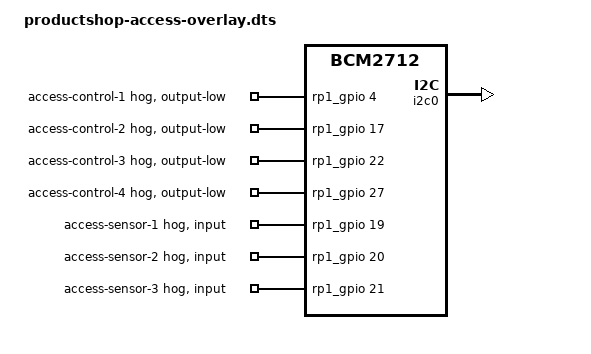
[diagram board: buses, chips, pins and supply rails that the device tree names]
/dts-v1/;
/plugin/;

/{
    compatible = "brcm,bcm2712";

    // --- FRAGMENT@0: GPIO Pin Groups for Access Control ---
    fragment@0 {
        target = <&rp1_gpio>;
        __overlay__ {
            access_control_pins: access_control_pin_group {
                pins = "gpio4", "gpio17", "gpio22", "gpio27";
                function = "gpio";
                bias-pull-up;
            };

            sensor_pins: sensor_pin_group {
                pins = "gpio19", "gpio20", "gpio21";
                function = "gpio";
                bias-pull-up;
            };
        };
    };

    // --- FRAGMENT@1: GPIO Hogs for Access Control ---
    fragment@1 {
        target = <&rp1_gpio>;
        __overlay__ {
            // Access control outputs
            gpio4_access_control: gpio4_hog {
                gpio-hog;
                gpios = <4 0>;
                output-low;
                line-name = "access-control-1";
            };

            gpio17_access_control: gpio17_hog {
                gpio-hog;
                gpios = <17 0>;
                output-low;
                line-name = "access-control-2";
            };

            gpio22_access_control: gpio22_hog {
                gpio-hog;
                gpios = <22 0>;
                output-low;
                line-name = "access-control-3";
            };

            gpio27_access_control: gpio27_hog {
                gpio-hog;
                gpios = <27 0>;
                output-low;
                line-name = "access-control-4";
            };

            // Sensor inputs (configured as inputs, no output directive)
            gpio19_sensor: gpio19_hog {
                gpio-hog;
                gpios = <19 0>;
                input;
                line-name = "access-sensor-1";
            };

            gpio20_sensor: gpio20_hog {
                gpio-hog;
                gpios = <20 0>;
                input;
                line-name = "access-sensor-2";
            };

            gpio21_sensor: gpio21_hog {
                gpio-hog;
                gpios = <21 0>;
                input;
                line-name = "access-sensor-3";
            };
        };
    };

    // --- FRAGMENT@2: I2C Access Control Devices (if needed) ---
    fragment@2 {
        target = <&i2c0>;
        __overlay__ {
            #address-cells = <1>;
            #size-cells = <0>;
            status = "okay";

            // Example: RFID reader or keypad controller
            // access_controller: access@50 {
            //     compatible = "generic,access-controller";
            //     reg = <0x50>;
            //     status = "okay";
            // };
        };
    };

    // --- FRAGMENT@3: HDMI Display Rotation ---
    fragment@3 {
        target = <&hdmi0>;
        frag3: __overlay__ {
            rotation = <270>;
        };
    };

    // --- FRAGMENT@4: HDMI1 Display Rotation (if dual HDMI) ---
    fragment@4 {
        target = <&hdmi1>;
        frag4: __overlay__ {
            rotation = <270>;
        };
    };

    // --- Overrides Section ---
    __overrides__ {
        // Allow runtime configuration of GPIO states
        gpio4_state = <&gpio4_access_control>, "output-high?";
        gpio17_state = <&gpio17_access_control>, "output-high?";
        gpio22_state = <&gpio22_access_control>, "output-high?";
        gpio27_state = <&gpio27_access_control>, "output-high?";
        
        // HDMI rotation overrides
        hdmi0_rotation = <&frag3>, "rotation:0";
        hdmi1_rotation = <&frag4>, "rotation:0";
    };
};
